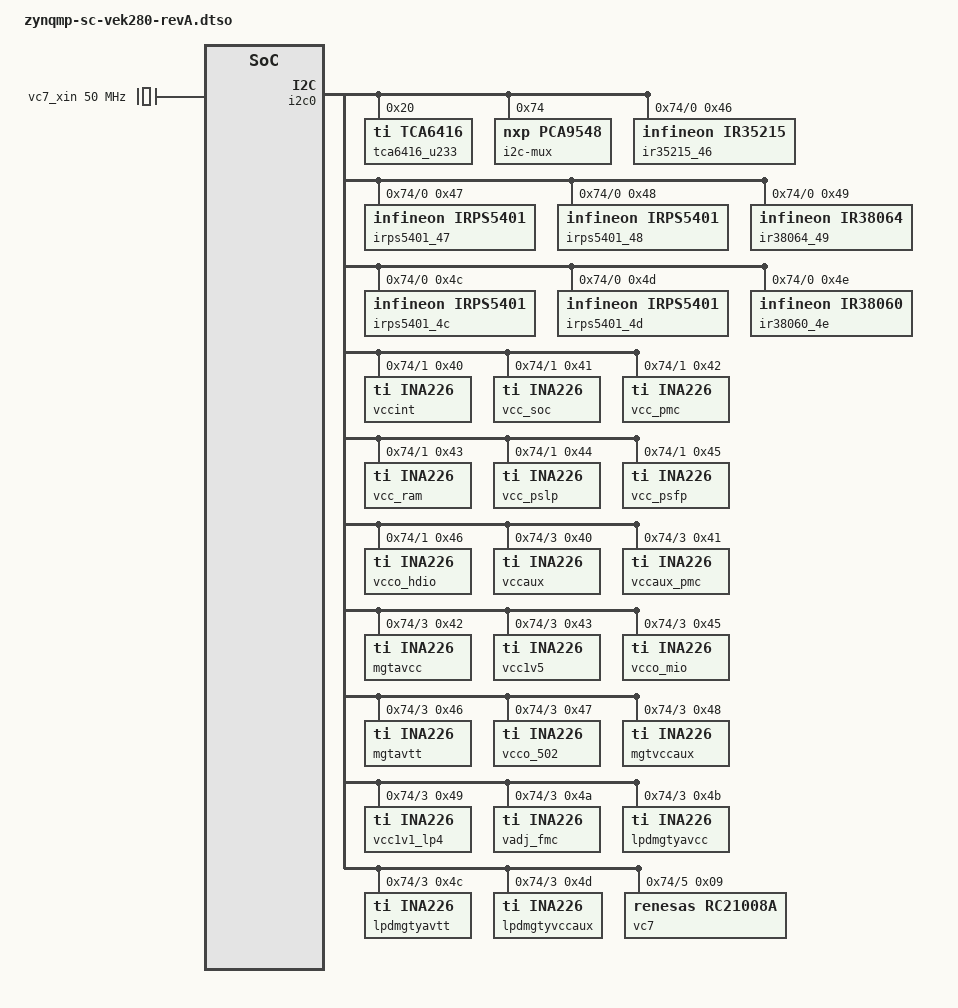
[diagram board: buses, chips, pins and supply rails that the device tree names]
// SPDX-License-Identifier: GPL-2.0
/*
 * dts file for Xilinx ZynqMP VEK280 revA
 *
 * (C) Copyright 2022 - 2023, Advanced Micro Devices, Inc
 *
 * Michal Simek <michal.simek@amd.com>
 */

#include <dt-bindings/gpio/gpio.h>

/dts-v1/;
/plugin/;

&{/} {
	compatible = "xlnx,zynqmp-sc-vek280-revA", "xlnx,zynqmp-vek280-revA",
		     "xlnx,zynqmp-vek280", "xlnx,zynqmp";

	vc7_xin: vc7-xin {
		compatible = "fixed-clock";
		#clock-cells = <0>;
		clock-frequency = <50000000>;
	};
};

&i2c0 {
	#address-cells = <1>;
	#size-cells = <0>;

	tca6416_u233: gpio@20 { /* u233 */
		compatible = "ti,tca6416";
		reg = <0x20>;
		gpio-controller; /* interrupt not connected */
		#gpio-cells = <2>;
		gpio-line-names = "", "", "SFP_MOD_ABS", "SFP_TX_DISABLE", /* 0 - 3 */
				"PMBUS2_INA226_ALERT", "", "", "", /* 4 - 7 */
				"FMCP1_FMC_PRSNT_M2C_B", "", "FMCP1_FMCP_PRSNT_M2C_B", "", /* 10 - 13 */
				"VCCINT_VRHOT_B", "8A34001_EXP_RST_B", "PMBUS_ALERT", "PMBUS1_INA226_ALERT"; /* 14 - 17 */
	};

	i2c-mux@74 { /* u33 */
		compatible = "nxp,pca9548";
		#address-cells = <1>;
		#size-cells = <0>;
		reg = <0x74>;
		/* reset-gpios = <&gpio SYSCTLR_IIC_MUX0_RESET_B GPIO_ACTIVE_HIGH>; */
		pmbus_i2c: i2c@0 {
			#address-cells = <1>;
			#size-cells = <0>;
			reg = <0>;
			/* On connector J325 */
			ir35215_46: pmic@46 { /* IR35215 - u152 */
				compatible = "infineon,ir35215";
				reg = <0x46>; /* i2c addr - 0x16 */
			};
			irps5401_47: pmic5401@47 { /* IRPS5401 - u160 */
				compatible = "infineon,irps5401";
				reg = <0x47>; /* i2c addr 0x17 */
			};
			irps5401_48: pmic@48 { /* IRPS5401 - u279 */
				compatible = "infineon,irps5401";
				reg = <0x48>; /* i2c addr 0x18 */
			};
			ir38064_49: regulator@49 { /* IR38064 - u295 */
				compatible = "infineon,ir38064";
				reg = <0x49>; /* i2c addr 0x19 */
			};
			irps5401_4c: pmic@4c { /* IRPS5401 - u167 */
				compatible = "infineon,irps5401";
				reg = <0x4c>; /* i2c addr 0x1c */
			};
			irps5401_4d: pmic@4d { /* IRPS5401 - u175 */
				compatible = "infineon,irps5401";
				reg = <0x4d>; /* i2c addr 0x1d */
			};
			ir38060_4e: regulator@4e { /* IR38060 - u282 */
				compatible = "infineon,ir38060";
				reg = <0x4e>; /* i2c addr 0x1e */
			};
		};
		pmbus1_ina226_i2c: i2c@1 {
			#address-cells = <1>;
			#size-cells = <0>;
			reg = <1>;
			/* alerts coming to u233 and SC */
			vccint: ina226@40 { /* u65 */
				compatible = "ti,ina226";
				reg = <0x40>;
				shunt-resistor = <500>; /* r440 */
			};
			vcc_soc: ina226@41 { /* u161 */
				compatible = "ti,ina226";
				reg = <0x41>;
				shunt-resistor = <500>; /* r1702 */
			};
			vcc_pmc: ina226@42 { /* u163 */
				compatible = "ti,ina226";
				reg = <0x42>;
				shunt-resistor = <5000>; /* r382 */
			};
			vcc_ram: ina226@43 { /* u355 */
				compatible = "ti,ina226";
				reg = <0x43>;
				shunt-resistor = <5000>; /* r2417 */
			};
			vcc_pslp: ina226@44 { /* u165 */
				compatible = "ti,ina226";
				reg = <0x44>;
				shunt-resistor = <5000>; /* r1830 */
			};
			vcc_psfp: ina226@45 { /* u260 */
				compatible = "ti,ina226";
				reg = <0x45>;
				shunt-resistor = <5000>; /* r2386 */
			};
			vcco_hdio: ina226@46 { /* u356 */
				compatible = "ti,ina226";
				reg = <0x46>;
				shunt-resistor = <5000>; /* r2392 */
			};
		};
		i2c@2 { /* NC */ /* FIXME maybe remove */
			#address-cells = <1>;
			#size-cells = <0>;
			reg = <2>;
		};
		pmbus2_ina226_i2c: i2c@3 {
			#address-cells = <1>;
			#size-cells = <0>;
			reg = <3>;
			/* alerts coming to u233 and SC */
			vccaux: ina226@40 { /* u166 */
				compatible = "ti,ina226";
				reg = <0x40>;
				shunt-resistor = <5000>; /* r2384 */
			};
			vccaux_pmc: ina226@41 { /* u168 */
				compatible = "ti,ina226";
				reg = <0x41>;
				shunt-resistor = <5000>; /* r2000 */
			};
			mgtavcc: ina226@42 { /* u265 */
				compatible = "ti,ina226";
				reg = <0x42>;
				shunt-resistor = <5000>; /* r1829 */
			};
			vcc1v5: ina226@43 { /* u264 */
				compatible = "ti,ina226";
				reg = <0x43>;
				shunt-resistor = <5000>; /* r2397 */
			};
			vcco_mio: ina226@45 { /* u172 */
				compatible = "ti,ina226";
				reg = <0x45>;
				shunt-resistor = <5000>; /* r2401 */
			};
			mgtavtt: ina226@46 { /* u188 */
				compatible = "ti,ina226";
				reg = <0x46>;
				shunt-resistor = <500>; /* r1384 */
			};
			vcco_502: ina226@47 { /* u174 */
				compatible = "ti,ina226";
				reg = <0x47>;
				shunt-resistor = <5000>; /* r1994 */
			};
			mgtvccaux: ina226@48 { /* u176 */
				compatible = "ti,ina226";
				reg = <0x48>;
				shunt-resistor = <5000>; /* r2384 */
			};
			vcc1v1_lp4: ina226@49 { /* u306 */
				compatible = "ti,ina226";
				reg = <0x49>;
				shunt-resistor = <500>; /* r2064 */
			};
			vadj_fmc: ina226@4a { /* u281 */
				compatible = "ti,ina226";
				reg = <0x4a>;
				shunt-resistor = <5000>; /* r2031 */
			};
			lpdmgtyavcc: ina226@4b { /* u177 */
				compatible = "ti,ina226";
				reg = <0x4b>;
				shunt-resistor = <5000>; /* r2004 */
			};
			lpdmgtyavtt: ina226@4c { /* u309 */
				compatible = "ti,ina226";
				reg = <0x4c>;
				shunt-resistor = <5000>; /* r1229 */
			};
			lpdmgtyvccaux: ina226@4d { /* u234 */
				compatible = "ti,ina226";
				reg = <0x4d>;
				shunt-resistor = <5000>; /* r1679 */
			};
		};
		i2c@4 { /* NC */ /* FIXME maybe remove */
			#address-cells = <1>;
			#size-cells = <0>;
			reg = <4>;
		};
		rc21008a_gtclk1: i2c@5 {
			#address-cells = <1>;
			#size-cells = <0>;
			reg = <5>;
			/* connector j374 */
			/* rc21008a at 0x9 u299 */
			vc7: clock-generator@9 {
				compatible = "renesas,rc21008a";
				reg = <0x9>;
				#clock-cells = <1>;
				clocks = <&vc7_xin>;
				clock-names = "xin";
			};
		};
		fmcp1_iic: i2c@6 {
			#address-cells = <1>;
			#size-cells = <0>;
			reg = <6>;
			/* to j51c */
		};
		sfp: i2c@7 {
			#address-cells = <1>;
			#size-cells = <0>;
			reg = <7>;
			/* sfp+ connector J376 */
		};
	};
};
